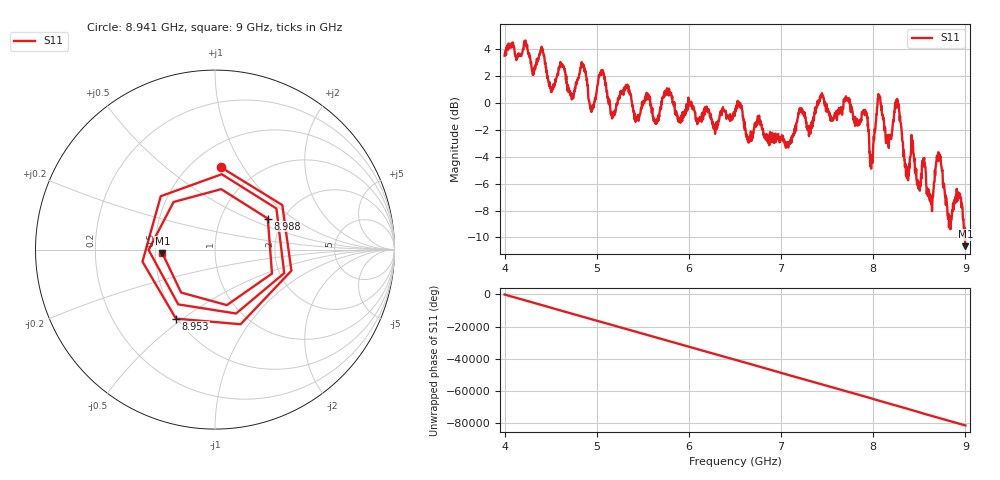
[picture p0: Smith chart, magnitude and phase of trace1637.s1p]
! Created with skrf 1.8.0 (http://scikit-rf.org).
# Hz S RI R 50.0
!freq ReS11 ImS11
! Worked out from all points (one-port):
!   1601 points, 4 GHz to 9 GHz, reference 50 ohm
!   lowest |S11| = -10.6 dB at 9 GHz (marker M1), VSWR 1.83, Z = 27.3 - j1.27 ohm
!   |S11| at or under -10 dB: 8.994018 GHz to end of sweep
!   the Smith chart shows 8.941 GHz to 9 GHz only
!   S11 on the Smith chart (normalised r, x): 8.941 GHz: 0.69, +0.80; 8.953 GHz: 0.49, -0.47; 8.988 GHz: 1.67, +0.65; 9 GHz: 0.55, -0.03
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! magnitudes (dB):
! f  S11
! 4 GHz  3.5
! 4.406 GHz  3.9
! 4.506 GHz  0.9
! 4.625 GHz  2.9
! 4.728 GHz  0.3
! 4.853 GHz  2.7
! 4.944 GHz  -0.6
! 5.05 GHz  2.4
! 5.172 GHz  -1.1
! 5.25 GHz  0.4
! 5.875 GHz  -0.9
! 6.5 GHz  -0.6
! 7.125 GHz  -2.5
! 7.75 GHz  -0.4
! 7.919 GHz  -0.6
! 7.981 GHz  -4.6
! 8.059 GHz  0.5
! 8.159 GHz  -3.0
! 8.259 GHz  0.3
! 8.375 GHz  -4.7
! 8.425 GHz  -2.7
! 8.631 GHz  -7.5
! 8.709 GHz  -3.7
! 8.828 GHz  -8.4
! 8.941 GHz  -6.7
! 8.953 GHz  -7.1
! 8.988 GHz  -9.3
! 9 GHz  -10.6
